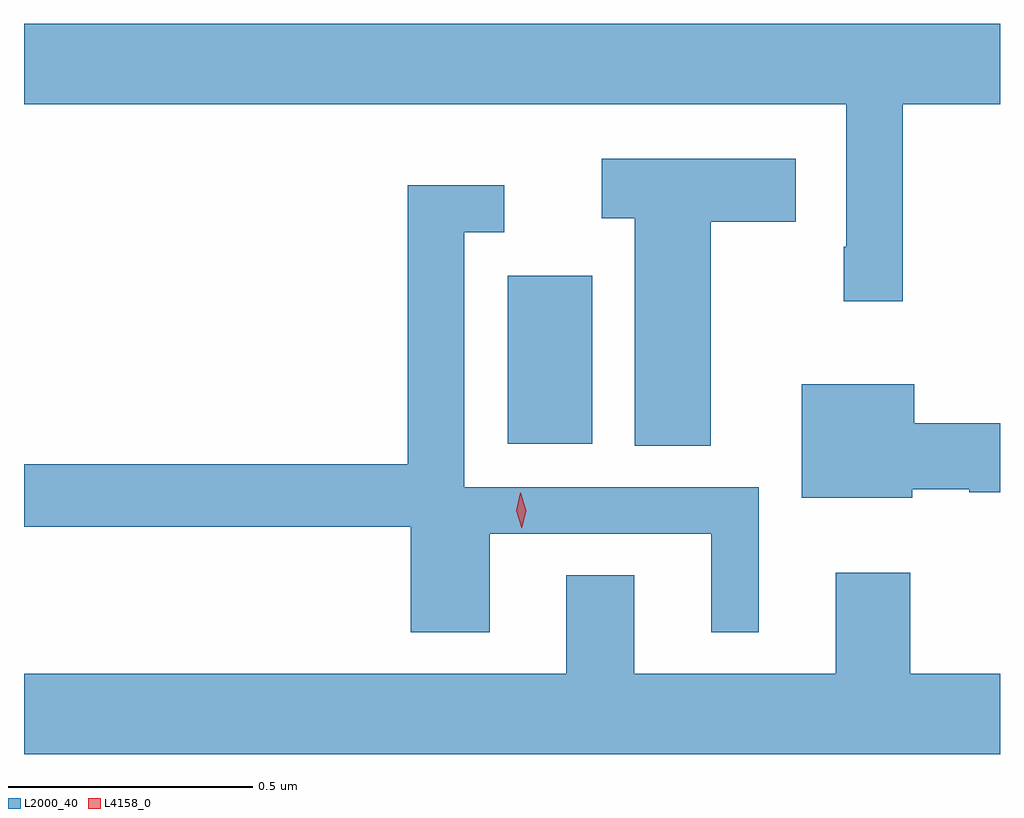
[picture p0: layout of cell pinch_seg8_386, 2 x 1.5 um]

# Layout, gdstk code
import gdstk
lib = gdstk.Library(unit=1e-6, precision=1e-09)
def R(c, l, rs):  # rectangles x0, y0, x1, y1
    for r in rs: c.add(gdstk.rectangle(r[:2], r[2:], *l))
def P(c, l, *ps):  # polygons
    for p in ps: c.add(gdstk.Polygon(p, *l))
L2000_40 = (2000, 40)
L4158_0 = (4158, 0)

pinch_seg8_386 = lib.new_cell('pinch_seg8_386')
R(pinch_seg8_386, L2000_40, [(423.953,1105.148,424.126,1105.492)])
P(pinch_seg8_386, L2000_40, [(424.763,1105.844),(424.962,1105.844),(424.962,1106.008),(422.962,1106.008),(422.962,1105.844),(424.647,1105.844),(424.647,1105.552),(424.642,1105.552),(424.642,1105.44),(424.763,1105.44)],
  [(424.369,1105.603),(424.543,1105.603),(424.543,1105.732),(424.146,1105.732),(424.146,1105.61),(424.214,1105.61),(424.214,1105.144),(424.369,1105.144)],
  [(423.916,1104.963),(424.37,1104.963),(424.37,1104.762),(424.468,1104.762),(424.468,1105.059),(423.864,1105.059),(423.864,1105.581),(423.946,1105.581),(423.946,1105.678),(423.748,1105.678),(423.748,1105.106),(422.962,1105.106),(422.962,1104.978),(423.755,1104.978),(423.755,1104.762),(423.916,1104.762)],
  [(424.782,1105.055),(424.899,1105.055),(424.899,1105.048),(424.962,1105.048),(424.962,1105.19),(424.786,1105.19),(424.786,1105.27),(424.556,1105.27),(424.556,1105.037),(424.782,1105.037)],
  [(424.962,1104.676),(424.778,1104.676),(424.778,1104.883),(424.625,1104.883),(424.625,1104.676),(424.213,1104.676),(424.213,1104.878),(424.073,1104.878),(424.073,1104.676),(422.962,1104.676),(422.962,1104.512),(424.962,1104.512)])
P(pinch_seg8_386, L4158_0, [(423.982,1104.975),(423.982,1104.975),(423.971,1105.011),(423.979,1105.047),(423.979,1105.047),(423.98,1105.047),(423.991,1105.011),(423.982,1104.975)])

lib.write_gds('pinch_seg8_386.gds')
